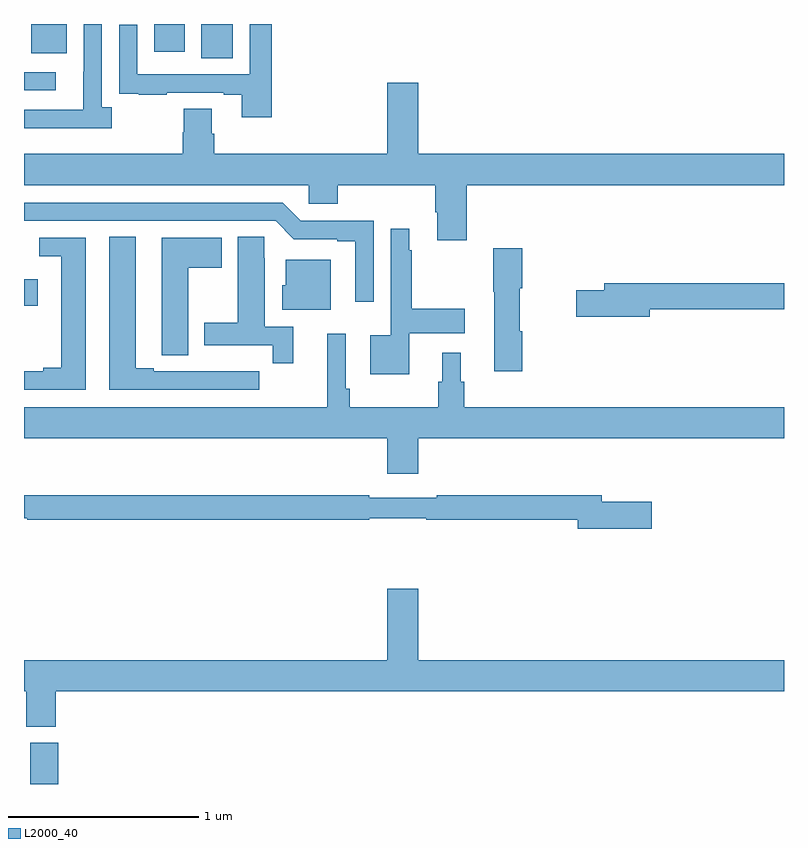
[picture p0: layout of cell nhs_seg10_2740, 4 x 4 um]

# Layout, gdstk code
import gdstk
lib = gdstk.Library(unit=1e-6, precision=1e-09)
def R(c, l, rs):  # rectangles x0, y0, x1, y1
    for r in rs: c.add(gdstk.rectangle(r[:2], r[2:], *l))
def P(c, l, *ps):  # polygons
    for p in ps: c.add(gdstk.Polygon(p, *l))
L2000_40 = (2000, 40)

nhs_seg10_2740 = lib.new_cell('nhs_seg10_2740')
R(nhs_seg10_2740, L2000_40, [(259.034,1294.5,259.181,1294.716), (259,1297.016,259.072,1297.156), (259,1298.151,259.168,1298.247), (259.934,1298.32,260.098,1298.5), (259.037,1298.345,259.225,1298.5), (259.685,1298.355,259.846,1298.5)])
P(nhs_seg10_2740, L2000_40, [(259.462,1298.062),(259.41,1298.062),(259.41,1298.5),(259.314,1298.5),(259.314,1298.249),(259.313,1298.249),(259.313,1298.049),(259,1298.049),(259,1297.952),(259.462,1297.952)],
  [(260.303,1298.5),(260.187,1298.5),(260.187,1298.235),(259.596,1298.235),(259.596,1298.497),(259.5,1298.497),(259.5,1298.242),(259.501,1298.242),(259.501,1298.133),(259.603,1298.133),(259.603,1298.127),(259.751,1298.127),(259.751,1298.139),(260.051,1298.139),(260.051,1298.127),(260.147,1298.127),(260.147,1298.01),(260.303,1298.01)],
  [(259.84,1298.054),(259.84,1297.929),(259.835,1297.929),(259.835,1297.816),(259,1297.816),(259,1297.652),(260.499,1297.652),(260.499,1297.554),(260.651,1297.554),(260.651,1297.652),(261.164,1297.652),(261.164,1297.51),(261.176,1297.51),(261.176,1297.362),(261.329,1297.362),(261.329,1297.652),(263,1297.652),(263,1297.816),(261.076,1297.816),(261.076,1298.191),(260.912,1298.191),(260.912,1297.816),(260,1297.816),(260,1297.922),(259.987,1297.922),(259.987,1298.054)],
  [(260.841,1297.464),(260.457,1297.464),(260.361,1297.56),(259,1297.56),(259,1297.464),(260.325,1297.464),(260.421,1297.368),(260.648,1297.368),(260.648,1297.356),(260.744,1297.356),(260.744,1297.038),(260.841,1297.038)],
  [(261.028,1296.872),(261.319,1296.872),(261.319,1297.002),(261.04,1297.002),(261.04,1297.31),(261.028,1297.31),(261.028,1297.423),(260.931,1297.423),(260.931,1296.862),(260.822,1296.862),(260.822,1296.656),(261.028,1296.656)],
  [(260.416,1296.906),(260.266,1296.906),(260.266,1297.268),(260.265,1297.268),(260.265,1297.379),(260.126,1297.379),(260.126,1296.927),(259.949,1296.927),(259.949,1296.81),(260.308,1296.81),(260.308,1296.714),(260.416,1296.714)],
  [(260.239,1296.672),(260.126,1296.672),(260.126,1296.673),(259.96,1296.673),(259.96,1296.672),(259.684,1296.672),(259.684,1296.687),(259.588,1296.687),(259.588,1297.379),(259.448,1297.379),(259.448,1296.576),(260.239,1296.576)],
  [(259.864,1297.216),(260.041,1297.216),(260.041,1297.375),(259.724,1297.375),(259.724,1296.865),(259.725,1296.865),(259.725,1296.757),(259.864,1296.757)],
  [(259.324,1297.374),(259.08,1297.374),(259.08,1297.278),(259.196,1297.278),(259.196,1296.692),(259.1,1296.692),(259.1,1296.672),(259,1296.672),(259,1296.576),(259.324,1296.576)],
  [(261.623,1296.884),(261.61,1296.884),(261.61,1297.108),(261.623,1297.108),(261.623,1297.321),(261.469,1297.321),(261.469,1297.09),(261.476,1297.09),(261.476,1296.672),(261.623,1296.672)],
  [(260.614,1297.258),(260.378,1297.258),(260.378,1297.125),(260.36,1297.125),(260.36,1296.995),(260.614,1296.995)],
  [(262.294,1297),(263,1297),(263,1297.136),(262.055,1297.136),(262.055,1297.1),(261.906,1297.1),(261.906,1296.958),(262.294,1296.958)],
  [(261.076,1296.32),(263,1296.32),(263,1296.484),(261.317,1296.484),(261.317,1296.618),(261.298,1296.618),(261.298,1296.769),(261.2,1296.769),(261.2,1296.618),(261.181,1296.618),(261.181,1296.484),(260.714,1296.484),(260.714,1296.58),(260.694,1296.58),(260.694,1296.871),(260.597,1296.871),(260.597,1296.484),(259,1296.484),(259,1296.32),(260.912,1296.32),(260.912,1296.132),(261.076,1296.132)],
  [(262.303,1295.985),(262.042,1295.985),(262.042,1296.019),(261.172,1296.019),(261.172,1296.006),(260.816,1296.006),(260.816,1296.019),(259,1296.019),(259,1295.898),(259.018,1295.898),(259.018,1295.89),(260.818,1295.89),(260.818,1295.898),(261.118,1295.898),(261.118,1295.89),(261.914,1295.89),(261.914,1295.843),(262.303,1295.843)],
  [(259.166,1294.988),(263,1294.988),(263,1295.152),(261.076,1295.152),(261.076,1295.527),(260.912,1295.527),(260.912,1295.152),(259,1295.152),(259,1294.988),(259.013,1294.988),(259.013,1294.801),(259.166,1294.801)])

lib.write_gds('nhs_seg10_2740.gds')
